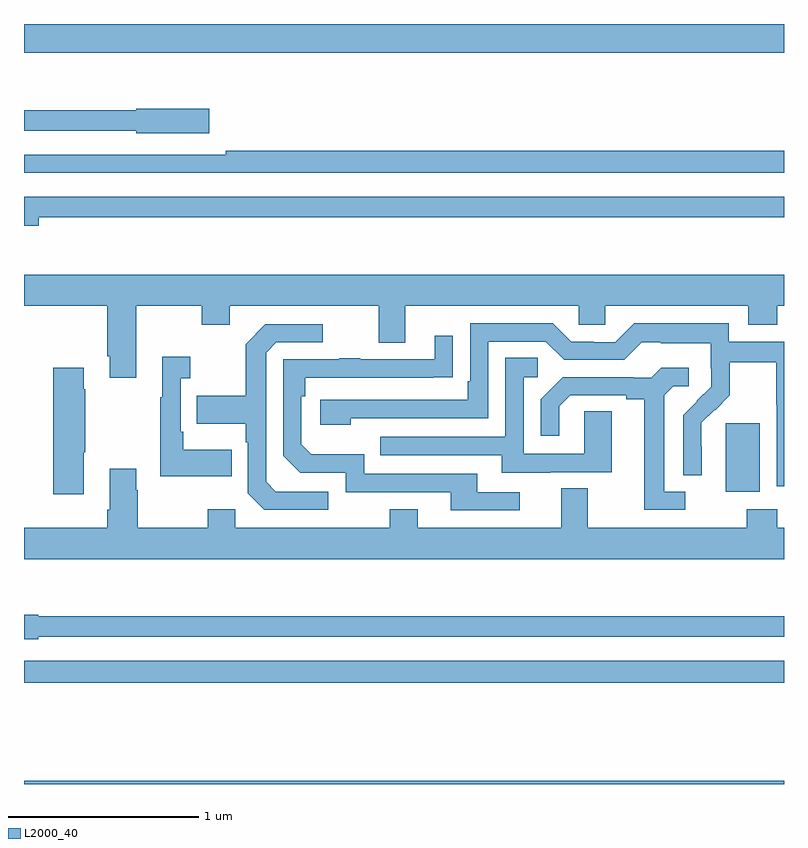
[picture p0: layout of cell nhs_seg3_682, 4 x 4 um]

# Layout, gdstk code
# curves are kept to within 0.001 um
import gdstk
lib = gdstk.Library(unit=1e-6, precision=1e-09)
def R(c, l, rs):  # rectangles x0, y0, x1, y1
    for r in rs: c.add(gdstk.rectangle(r[:2], r[2:], *l))
def P(c, l, *ps):  # polygons
    for p in ps: c.add(gdstk.Polygon(p, *l))
L2000_40 = (2000, 40)

nhs_seg3_682 = lib.new_cell('nhs_seg3_682')
R(nhs_seg3_682, L2000_40, [(145,698.4,149,698.416), (145,698.932,149,699.048), (148.694,699.938,148.873,700.299), (145,702.248,149,702.4)])
P(nhs_seg3_682, L2000_40, [(145.975,701.955),(145.59,701.955),(145.59,701.947),(145,701.947),(145,701.838),(145.59,701.838),(145.59,701.825),(145.975,701.825)],
  [(149,701.732),(146.062,701.732),(146.062,701.712),(145,701.712),(145,701.616),(149,701.616)],
  [(145.078,701.382),(149,701.382),(149,701.49),(145,701.49),(145,701.339),(145.078,701.339)],
  [(145.591,700.916),(145.936,700.916),(145.936,700.817),(146.083,700.817),(146.083,700.916),(146.867,700.916),(146.867,700.722),(147.007,700.722),(147.007,700.916),(147.921,700.916),(147.921,700.818),(148.059,700.818),(148.059,700.916),(148.811,700.916),(148.811,700.817),(148.964,700.817),(148.964,700.916),(149,700.916),(149,701.08),(145,701.08),(145,700.916),(145.439,700.916),(145.439,700.651),(145.451,700.651),(145.451,700.539),(145.591,700.539)],
  [(149,700.728),(148.71,700.728),(148.71,700.825),(148.213,700.825),(148.113,700.725),(147.998,700.725),(147.998,700.728),(147.879,700.728),(147.783,700.824),(147.348,700.824),(147.348,700.519),(147.335,700.519),(147.335,700.422),(146.559,700.422),(146.559,700.292),(146.72,700.292),(146.72,700.326),(147.444,700.326),(147.444,700.728),(147.747,700.728),(147.843,700.632),(148.158,700.632),(148.251,700.725),(148.351,700.725),(148.351,700.721),(148.614,700.721),(148.614,700.587),(148.616,700.587),(148.616,700.49),(148.47,700.342),(148.47,700.024),(148.566,700.024),(148.565,700.301),(148.635,700.371),(148.638,700.368),(148.715,700.445),(148.715,700.62),(148.96,700.62),(148.96,700.396),(148.962,700.396),(148.962,699.967),(149,699.967)],
  [(146.602,699.939),(146.325,699.939),(146.274,699.99),(146.274,700.671),(146.328,700.725),(146.572,700.725),(146.572,700.821),(146.271,700.821),(146.166,700.715),(146.166,700.443),(145.909,700.443),(145.909,700.295),(146.166,700.295),(146.166,700.199),(146.178,700.199),(146.178,699.93),(146.265,699.843),(146.602,699.843)],
  [(147.61,699.936),(147.385,699.936),(147.385,700.032),(146.79,700.032),(146.79,700.135),(146.513,700.135),(146.46,700.188),(146.46,700.442),(146.48,700.442),(146.48,700.539),(147.257,700.54),(147.257,700.759),(147.161,700.759),(147.161,700.635),(146.771,700.635),(146.771,700.64),(146.659,700.64),(146.659,700.635),(146.364,700.635),(146.364,700.128),(146.454,700.038),(146.694,700.038),(146.694,699.936),(147.245,699.936),(147.245,699.84),(147.61,699.84)],
  [(146.093,700.159),(145.837,700.159),(145.837,700.255),(145.824,700.255),(145.824,700.535),(145.876,700.535),(145.876,700.648),(145.727,700.648),(145.727,700.435),(145.716,700.435),(145.716,700.019),(146.093,700.019)],
  [(147.769,700.041),(148.093,700.041),(148.093,700.361),(147.948,700.361),(147.948,700.137),(147.63,700.137),(147.63,700.542),(147.703,700.542),(147.703,700.643),(147.534,700.643),(147.534,700.227),(146.875,700.227),(146.875,700.131),(147.515,700.131),(147.515,700.037),(147.769,700.037)],
  [(148.48,699.939),(148.369,699.939),(148.369,700.447),(148.416,700.494),(148.498,700.494),(148.498,700.591),(148.354,700.591),(148.302,700.539),(148.208,700.539),(148.208,700.542),(147.836,700.542),(147.72,700.426),(147.72,700.233),(147.817,700.233),(147.817,700.389),(147.874,700.446),(148.169,700.446),(148.169,700.424),(148.265,700.424),(148.265,699.843),(148.48,699.843)],
  [(145.315,700.147),(145.323,700.147),(145.323,700.478),(145.315,700.478),(145.315,700.591),(145.153,700.591),(145.153,699.924),(145.315,699.924)],
  [(149,699.748),(148.964,699.748),(148.964,699.847),(148.804,699.847),(148.804,699.748),(147.967,699.748),(147.967,699.956),(147.827,699.956),(147.827,699.748),(147.073,699.748),(147.073,699.847),(146.926,699.847),(146.926,699.748),(146.112,699.748),(146.112,699.847),(145.966,699.847),(145.966,699.748),(145.599,699.748),(145.599,699.947),(145.591,699.947),(145.591,700.06),(145.451,700.06),(145.451,699.844),(145.439,699.844),(145.439,699.748),(145,699.748),(145,699.584),(149,699.584)],
  [(145.074,699.174),(149,699.174),(149,699.283),(145.074,699.283),(145.074,699.291),(145,699.291),(145,699.161),(145.074,699.161)])

lib.write_gds('nhs_seg3_682.gds')
